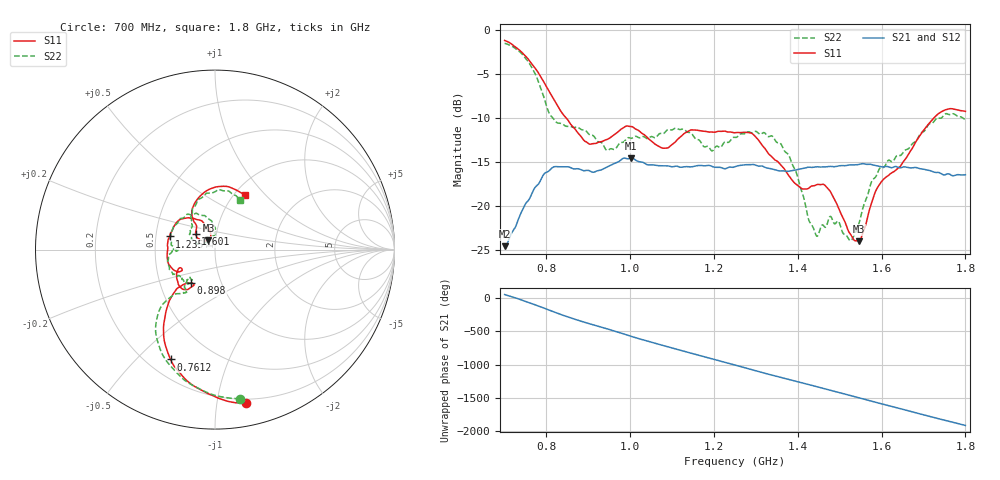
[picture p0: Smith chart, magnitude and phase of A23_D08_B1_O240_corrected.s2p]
! Created with skrf 1.9.0 (http://scikit-rf.org).
# Hz S RI R 50.0
!freq ReS11 ImS11 ReS21 ImS21 ReS12 ImS12 ReS22 ImS22
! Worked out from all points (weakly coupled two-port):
!   1601 points, 700 MHz to 1.8 GHz, reference 50 ohm
!   highest |S21| = -14.54 dB at 1.002 GHz (marker M1); lowest = -24.6 dB at 700.7 MHz (marker M2)
!   lowest |S11| = -24.0 dB at 1.546 GHz (marker M3), VSWR 1.13, Z = 46.2 + j4.79 ohm
!   |S11| at or under -10 dB: 847.5 MHz to 1.724 GHz (877 MHz wide, 68.2 % of centre)
!   |S22| runs from -23.9 to -1.5 dB; largest |S21 - S12| = 0.0036
!   S11 on the Smith chart (normalised r, x): 700 MHz: 0.17, -1.21; 761.2 MHz: 0.29, -0.63; 898 MHz: 0.72, -0.28; 1.235 GHz: 0.59, +0.09; 1.601 GHz: 0.79, +0.14; 1.8 GHz: 1.12, +0.77
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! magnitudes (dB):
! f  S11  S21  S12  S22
! 700 MHz  -1.2  -24.6  -24.3  -1.5
! 700.7 MHz  -1.2  -24.6  -24.2  -1.5
! 761.2 MHz  -3.6  -19.0  -18.9  -3.9
! 814.1 MHz  -7.6  -15.6  -15.7  -9.9
! 883.6 MHz  -12.2  -15.9  -15.8  -11.3
! 898 MHz  -12.8  -15.9  -16.0  -11.6
! 945.4 MHz  -12.4  -15.5  -15.6  -13.7
! 1.002 GHz  -10.9  -14.5  -14.6  -12.3
! 1.067 GHz  -13.2  -15.4  -15.3  -11.9
! 1.235 GHz  -11.6  -15.6  -15.7  -12.7
! 1.25 GHz  -11.7  -15.5  -15.5  -12.2
! 1.292 GHz  -11.8  -15.3  -15.3  -11.7
! 1.359 GHz  -15.3  -16.0  -16.0  -12.9
! 1.395 GHz  -17.5  -15.9  -15.9  -16.0
! 1.434 GHz  -17.7  -15.6  -15.6  -22.2
! 1.473 GHz  -18.1  -15.5  -15.5  -21.6
! 1.526 GHz  -23.2  -15.3  -15.3  -23.9
! 1.546 GHz  -24.0  -15.3  -15.2  -21.9
! 1.601 GHz  -17.1  -15.5  -15.5  -15.6
! 1.617 GHz  -16.5  -15.5  -15.5  -14.8
! 1.733 GHz  -9.6  -16.2  -16.2  -10.0
! 1.8 GHz  -9.2  -16.4  -16.4  -10.1
